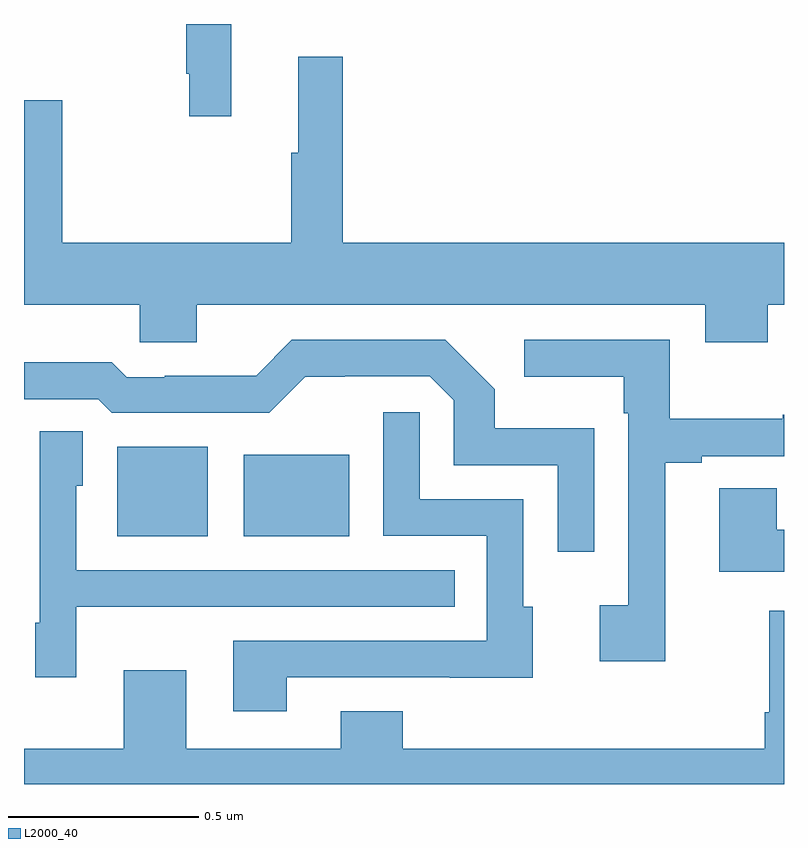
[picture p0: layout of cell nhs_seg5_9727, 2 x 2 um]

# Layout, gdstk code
import gdstk
lib = gdstk.Library(unit=1e-6, precision=1e-09)
def R(c, l, rs):  # rectangles x0, y0, x1, y1
    for r in rs: c.add(gdstk.rectangle(r[:2], r[2:], *l))
def P(c, l, *ps):  # polygons
    for p in ps: c.add(gdstk.Polygon(p, *l))
L2000_40 = (2000, 40)

nhs_seg5_9727 = lib.new_cell('nhs_seg5_9727')
R(nhs_seg5_9727, L2000_40, [(237.245,889.451,237.484,889.687), (237.578,889.451,237.856,889.666)])
P(nhs_seg5_9727, L2000_40, [(237.545,890.799),(237.427,890.799),(237.427,890.668),(237.435,890.668),(237.435,890.556),(237.545,890.556)],
  [(238.957,890.06),(239,890.06),(239,890.224),(237.839,890.224),(237.839,890.713),(237.722,890.713),(237.722,890.46),(237.703,890.46),(237.703,890.224),(237.1,890.224),(237.1,890.599),(237,890.599),(237,890.06),(237.304,890.06),(237.304,889.962),(237.454,889.962),(237.454,890.06),(238.793,890.06),(238.793,889.961),(238.957,889.961)],
  [(238.687,889.644),(238.783,889.644),(238.783,889.662),(239,889.662),(239,889.771),(238.997,889.771),(238.997,889.76),(238.699,889.76),(238.699,889.968),(238.317,889.968),(238.317,889.871),(238.578,889.871),(238.578,889.775),(238.59,889.775),(238.59,889.27),(238.515,889.27),(238.515,889.122),(238.687,889.122)],
  [(238.5,889.735),(238.239,889.735),(238.239,889.838),(238.108,889.968),(237.705,889.968),(237.611,889.874),(237.37,889.874),(237.37,889.869),(237.27,889.869),(237.231,889.909),(237,889.909),(237,889.812),(237.195,889.812),(237.231,889.776),(237.645,889.776),(237.74,889.871),(237.844,889.871),(237.844,889.872),(238.068,889.872),(238.131,889.809),(238.131,889.638),(238.404,889.638),(238.404,889.41),(238.5,889.41)],
  [(237.691,889.08),(238.121,889.08),(238.121,889.079),(238.339,889.079),(238.339,889.266),(238.314,889.266),(238.314,889.548),(238.041,889.548),(238.041,889.777),(237.945,889.777),(237.945,889.452),(238.218,889.452),(238.218,889.176),(237.551,889.176),(237.551,888.99),(237.691,888.99)],
  [(237.138,889.265),(237.455,889.265),(237.455,889.266),(238.133,889.266),(238.133,889.362),(237.138,889.362),(237.138,889.584),(237.154,889.584),(237.154,889.727),(237.042,889.727),(237.042,889.224),(237.029,889.224),(237.029,889.08),(237.138,889.08)],
  [(239,889.468),(238.981,889.468),(238.981,889.577),(238.829,889.577),(238.829,889.358),(239,889.358)],
  [(239,889.255),(238.961,889.255),(238.961,888.988),(238.949,888.988),(238.949,888.892),(237.997,888.892),(237.997,888.991),(237.833,888.991),(237.833,888.892),(237.427,888.892),(237.427,889.099),(237.263,889.099),(237.263,888.892),(237,888.892),(237,888.799),(239,888.799)])

lib.write_gds('nhs_seg5_9727.gds')
